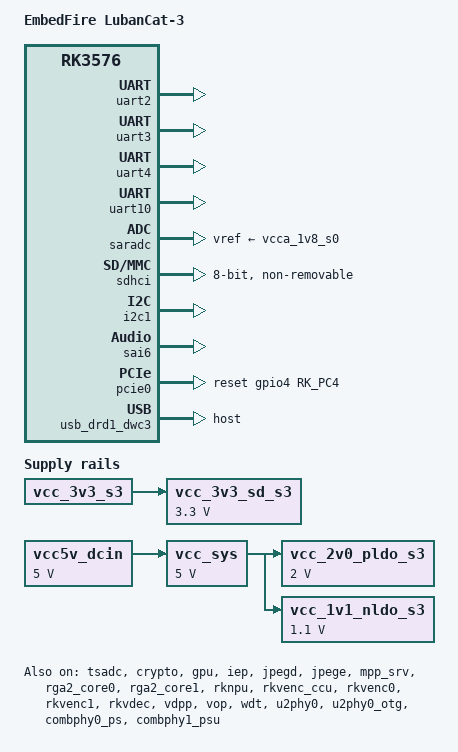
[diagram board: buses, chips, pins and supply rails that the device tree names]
// SPDX-License-Identifier: (GPL-2.0+ OR MIT)
/*
* Copyright (c) 2024 Rockchip Electronics Co., Ltd.
* Copyright (c) 2024 EmbedFire <embedfire@embedfire.com>
*/

/dts-v1/;
#include <dt-bindings/usb/pd.h>
#include <dt-bindings/gpio/gpio.h>
#include <dt-bindings/pwm/pwm.h>
#include <dt-bindings/pinctrl/rockchip.h>
//#include <dt-bindings/input/rk-input.h>
#include <dt-bindings/input/linux-event-codes.h>
#include <dt-bindings/display/drm_mipi_dsi.h>
#include <dt-bindings/display/rockchip_vop.h>
#include <dt-bindings/sensor-dev.h>
#include "rk3576.dtsi"
#include "rk3576-linux.dtsi"
#include "rk3576-rk806.dtsi"

// #include "rk3576-lubancat-3-dsi-vp2-1080x1920-5.5inch-ebf410125.dtsi"
// #include "rk3576-lubancat-3-dsi-vp2-1024x600-7inch-ebf410173.dtsi"
// #include "rk3576-lubancat-3-dsi-vp2-800x1280-10.1inch-ebf410177.dtsi"

// #include "rk3576-lubancat-3-csi.dtsi"

/ {
	model = "EmbedFire LubanCat-3";
	compatible = "embedfire,rk3576-lubancat-3", "rockchip,rk3576";

	vcc5v_dcin: vcc5v-dcin {
		compatible = "regulator-fixed";
		regulator-name = "vcc5v_dcin";
		regulator-always-on;
		regulator-boot-on;
		regulator-min-microvolt = <5000000>;
		regulator-max-microvolt = <5000000>;
	};

	vcc_sys: vcc5v0-sys {
		compatible = "regulator-fixed";
		regulator-name = "vcc_sys";
		regulator-always-on;
		regulator-boot-on;
		regulator-min-microvolt = <5000000>;
		regulator-max-microvolt = <5000000>;
		vin-supply = <&vcc5v_dcin>;
	};

	vcc_2v0_pldo_s3: vcc-2v0-pldo-s3 {
		compatible = "regulator-fixed";
		regulator-name = "vcc_2v0_pldo_s3";
		regulator-boot-on;
		regulator-always-on;
		regulator-min-microvolt = <2000000>;
		regulator-max-microvolt = <2000000>;
		vin-supply = <&vcc_sys>;
	};

	vcc_1v1_nldo_s3: vcc-1v1-nldo-s3 {
		compatible = "regulator-fixed";
		regulator-name = "vcc_1v1_nldo_s3";
		regulator-boot-on;
		regulator-always-on;
		regulator-min-microvolt = <1100000>;
		regulator-max-microvolt = <1100000>;
		vin-supply = <&vcc_sys>;
	};

	vcc_3v3_sd_s3: vcc-3v3-sd-s3 {
		compatible = "regulator-fixed";
		regulator-name = "vcc_3v3_sd_s3";
		regulator-always-on;
		regulator-boot-on;
		regulator-min-microvolt = <3300000>;
		regulator-max-microvolt = <3300000>;
		vin-supply = <&vcc_3v3_s3>;
	};
	test-power {
		status = "okay";
	};
};

&uart2 {
	status = "okay";
	pinctrl-names = "default";
	pinctrl-0 = <&uart2m0_xfer>;

};

&uart3 {
	status = "okay";
	pinctrl-names = "default";
	pinctrl-0 = <&uart3m2_xfer>;

};

&uart4 {
	status = "okay";
	pinctrl-names = "default";
	pinctrl-0 = <&uart4m1_xfer>;

};

&uart10 {
	status = "okay";
	pinctrl-names = "default";
	pinctrl-0 = <&uart10m1_xfer>;

};

&saradc {
	status = "okay";
	vref-supply = <&vcca_1v8_s0>;
};

&tsadc {
	status = "okay";
};

&sdhci {
	bus-width = <8>;
	no-sdio;
	no-sd;
	non-removable;
	max-frequency = <200000000>;
	mmc-hs400-1_8v;
	mmc-hs400-enhanced-strobe;
	full-pwr-cycle-in-suspend;
	status = "okay";
};
&i2c1 {
	pinctrl-names = "default";
	pinctrl-0 = <&i2c1m0_xfer>;
	status = "okay";
};

&cpu_l0 {
	cpu-supply = <&vdd_cpu_lit_s0>;
};

&cpu_b0 {
	cpu-supply = <&vdd_cpu_big_s0>;
};

&crypto {
	status = "okay";
};

&gpu {
	mali-supply = <&vdd_gpu_s0>;
	status = "okay";
};

&iep {
	status = "okay";
};

&iep_mmu {
	status = "okay";
};

&jpegd {
	status = "okay";
};

&jpege {
	status = "okay";
};

&jpeg_mmu {
	status = "okay";
};

&mpp_srv {
	status = "okay";
};

&rga2_core0 {
	status = "okay";
};

&rga2_core0_mmu {
	status = "okay";
};

&rga2_core1 {
	status = "okay";
};

&rga2_core1_mmu {
	status = "okay";
};

&rknpu {
	rknpu-supply = <&vdd_npu_s0>;
	status = "okay";
};

&rknpu_mmu {
	status = "okay";
};

&rkvenc_ccu {
	status = "okay";
};

&rkvenc0 {
	status = "okay";
};

&rkvenc0_mmu {
	status = "okay";
};

&rkvenc1 {
	status = "okay";
};

&rkvenc1_mmu {
	status = "okay";

};

&rkvdec {
	status = "okay";
};

&rkvdec_mmu {
	status = "okay";
};

&rockchip_suspend {
	status = "okay";
	rockchip,sleep-debug-en = <1>;

	rockchip,sleep-io-ret-config = <
		(0
		| RKPM_VCCIO3_RET_EN
		)
	>;

	rockchip,regulator-on-before-mem = <&vdd_npu_s0>;
};

&sai6 {
	status = "okay";
};

&vdpp {
	status = "okay";
};

&vop {
	status = "okay";
	vop-supply = <&vdd_logic_s0>;
};

&vop_mmu {
	status = "okay";
};

&vp0 {
	rockchip,plane-mask = <(1 << ROCKCHIP_VOP2_CLUSTER0 | 1 << ROCKCHIP_VOP2_ESMART0)>;
	rockchip,primary-plane = <ROCKCHIP_VOP2_ESMART0>;
	cursor-win-id = <ROCKCHIP_VOP2_CLUSTER0>;
};

&vp1 {
	rockchip,plane-mask = <(1 << ROCKCHIP_VOP2_CLUSTER1 | 1 << ROCKCHIP_VOP2_ESMART1)>;
	rockchip,primary-plane = <ROCKCHIP_VOP2_ESMART1>;
	cursor-win-id = <ROCKCHIP_VOP2_CLUSTER1>;
};

&vp2 {
	rockchip,plane-mask = <(1 << ROCKCHIP_VOP2_ESMART2 | 1 << ROCKCHIP_VOP2_ESMART3)>;
	rockchip,primary-plane = <ROCKCHIP_VOP2_ESMART2>;
	cursor-win-id = <ROCKCHIP_VOP2_ESMART3>;
};

&vp2 {
	esmart_lb_mode = /bits/ 8 <5>;
};

// &mdio0 {
// 	rgmii_phy0: phy@0 {
// 		compatible = "ethernet-phy-ieee802.3-c22";
// 		reg = <0x0>;
// 		clocks = <&cru REFCLKO25M_GMAC0_OUT>;
// 	};
// };

// &mdio1 {
// 	rgmii_phy1: phy@0 {
// 		compatible = "ethernet-phy-ieee802.3-c22";
// 		reg = <0x0>;
// 		clocks = <&cru REFCLKO25M_GMAC1_OUT>;
// 	};
// };

// &gmac0 {
// 	/* Use rgmii-rxid mode to disable rx delay inside Soc */
// 	phy-mode = "rgmii-rxid";
// 	clock_in_out = "output";

// 	snps,reset-gpio = <&gpio3 RK_PB7 GPIO_ACTIVE_LOW>;
// 	snps,reset-active-low;
// 	/* Reset time is 20ms, 100ms for rtl8211f */
// 	snps,reset-delays-us = <0 20000 100000>;

// 	pinctrl-names = "default";
// 	pinctrl-0 = <&eth0m0_miim
// 			&eth0m0_tx_bus2
// 			&eth0m0_rx_bus2
// 			&eth0m0_rgmii_clk
// 			&eth0m0_rgmii_bus
// 			&eth0m0_mclk>;

// 	tx_delay = <0x05>;
// 	rx_delay = <0x05>;

// 	phy-handle = <&rgmii_phy0>;
// 	status = "okay";
// };

// &gmac1 {
// 	/* Use rgmii-rxid mode to disable rx delay inside Soc */
// 	phy-mode = "rgmii-rxid";
// 	clock_in_out = "output";

// 	snps,reset-gpio = <&gpio2 RK_PD6 GPIO_ACTIVE_LOW>;
// 	snps,reset-active-low;
// 	/* Reset time is 20ms, 100ms for rtl8211f */
// 	snps,reset-delays-us = <0 20000 100000>;

// 	pinctrl-names = "default";
// 	pinctrl-0 = <&eth1m0_miim
// 			&eth1m0_tx_bus2
// 			&eth1m0_rx_bus2
// 			&eth1m0_rgmii_clk
// 			&eth1m0_rgmii_bus
// 			&eth1m0_mclk>;

// 	tx_delay = <0x20>;
// 	rx_delay = <0x01>;

// 	phy-handle = <&rgmii_phy1>;
// 	status = "disabled";
// };

/* this is a watchdog */
&wdt {
	status = "okay";
};

/* USB2 OTG0 */
&u2phy0 {
	status = "okay";
};

&u2phy0_otg {
	rockchip,typec-vbus-det;
	status = "okay";
};

/* PCIE0/SATA0 Combo PHY0 */
&combphy0_ps {
	status = "okay";
};

&pcie0 {
	reset-gpios = <&gpio4 RK_PC4 GPIO_ACTIVE_HIGH>;
	// vpcie3v3-supply = <&vcc3v3_pcie0>;
	status = "okay";
};


/* PCIE1/SATA1/USB3_OTG1 Combo PHY1 */
&combphy1_psu {
	status = "okay";
};

&usb_drd1_dwc3 {
	dr_mode = "host";
	status = "okay";
	snps,parkmode-disable-hs-quirk;
	snps,parkmode-disable-ss-quirk;
	snps,dis_u3_susphy_quirk;
	snps,dis_u2_susphy_quirk;
};

&pinctrl {


	usb-typec {
		fusb302_int: fusb302-int {
			rockchip,pins = <0 RK_PB4 RK_FUNC_GPIO &pcfg_pull_up>;
		};

		typec_vbus_en: typec-vbus-en {
			rockchip,pins = <0 RK_PB5 RK_FUNC_GPIO &pcfg_pull_none>;
		};
	};

	usb-host {
		usb30_host_pwr_en: usb30-host-pwr-en {
			rockchip,pins = <0 RK_PB0 RK_FUNC_GPIO &pcfg_pull_none>;
		};
		usb20_host_pwr_en: usb20-host-pwr-en {
			rockchip,pins = <0 RK_PB1 RK_FUNC_GPIO &pcfg_pull_none>;
		};
	};
};
